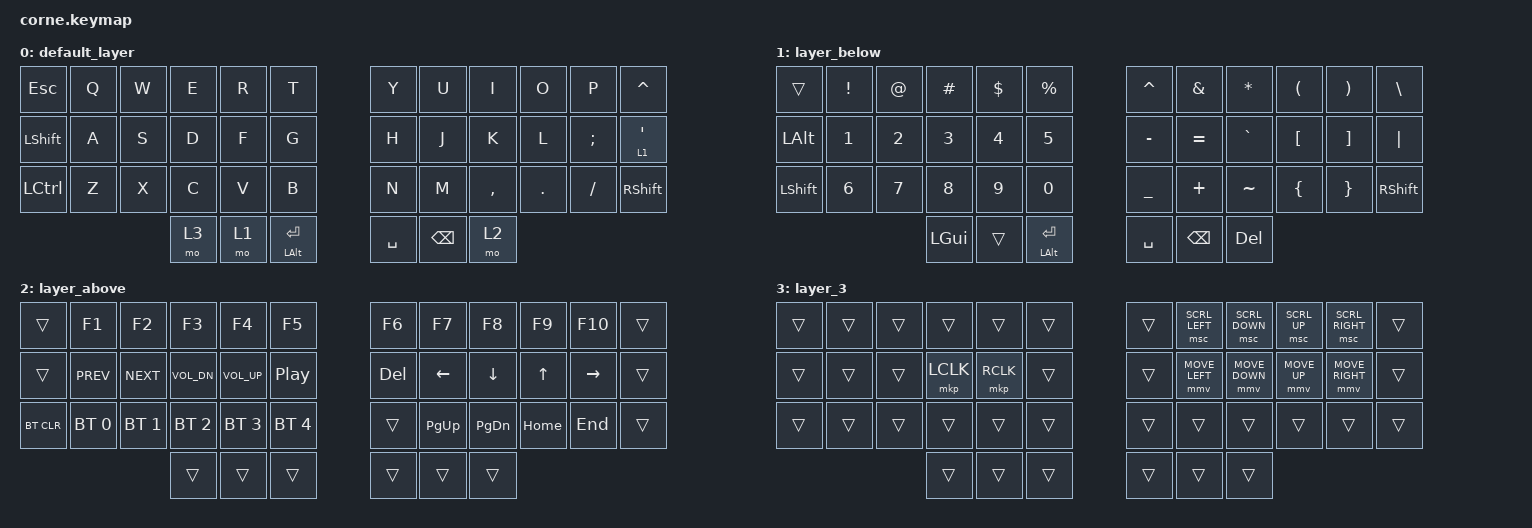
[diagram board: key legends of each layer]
/*
 * Copyright (c) 2020 The ZMK Contributors
 *
 * SPDX-License-Identifier: MIT
 */

#include <behaviors.dtsi>
#include <dt-bindings/zmk/bt.h>
#include <dt-bindings/zmk/keys.h>
#include <dt-bindings/zmk/pointing.h>

/ {
    behaviors {
        tp: tap_preferred {
            compatible = "zmk,behavior-hold-tap";
            label = "TAP_PREFERRED";
            #binding-cells = <2>;
            tapping-term-ms = <150>;
            quick-tap-ms = <0>;
            flavor = "tap-preferred";
            bindings = <&kp>, <&kp>;
        };
    };

    keymap {
        compatible = "zmk,keymap";

        default_layer {
            // -----------------------------------------------------------------------------------------
            // | TAB  |  Q  |  W  |  E  |  R  |    T    |   |  Y  |  U   |  I  |  O  |  P  | ESC |
            // | CTRL |  A  |  S  |  D  |  F  |    G    |   |  H  |  J   |  K  |  L  |  ;  |  LWR/'   |
            // | SHFT |  Z  |  X  |  C  |  V  |    B    |   |  N  |  M   |  ,  |  .  |  /  | SHFT |
            //                    | GUI | LWR | ALT/ENT |   | HYPER/SPC | BKSP  | RSE |

            bindings = <
&kp ESC           &kp Q  &kp W  &kp E  &kp R  &kp T           &kp Y      &kp U     &kp I      &kp O    &kp P     &kp CARET
&kp LEFT_SHIFT    &kp A  &kp S  &kp D  &kp F  &kp G           &kp H      &kp J     &kp K      &kp L    &kp SEMI  &lt 1 SQT
&kp LEFT_CONTROL  &kp Z  &kp X  &kp C  &kp V  &kp B           &kp N      &kp M     &kp COMMA  &kp DOT  &kp FSLH  &kp RSHFT
                                &mo 3  &mo 1  &tp LALT RET    &kp SPACE  &kp BSPC  &mo 2
            >;
        };

        layer_below {
            // -----------------------------------------------------------------------------------------
            // |      |  !  |  @  |  #  |  $  |    %     |   |  ^  |  &  |  *  |  (  |  )  |   \   |
            // |      |  1  |  2  |  3  |  4  |    5     |   |  -  |  =  |  `  |  [  |  ]  |  "|"  |
            // | SHFT |  6  |  7  |  8  |  9  |    0     |   |  _  |  +  |  ~  |  {  |  }  | RSHFT |
            //                     | GUI |     | ALT/ENT |   | HYPER/SPACE | BKSP |    |

            bindings = <
&trans        &kp EXCL  &kp AT  &kp HASH  &kp DLLR  &kp PRCNT       &kp CARET  &kp AMPS   &kp ASTERISK  &kp LPAR  &kp RPAR  &kp BSLH
&kp LEFT_ALT  &kp N1    &kp N2  &kp N3    &kp N4    &kp N5          &kp MINUS  &kp EQUAL  &kp GRAVE     &kp LBKT  &kp RBKT  &kp PIPE
&kp LSHFT     &kp N6    &kp N7  &kp N8    &kp N9    &kp N0          &kp UNDER  &kp PLUS   &kp TILDE     &kp LBRC  &kp RBRC  &kp RSHFT
                                &kp LGUI  &trans    &tp LALT RET    &kp SPACE  &kp BSPC   &kp DEL
            >;
        };

        layer_above {
            // -----------------------------------------------------------------------------------------
            // |       |  F1  |  F2  |  F3  |  F4  |  F5 |            |  F6  |  F7  |  F8  |  F9  |  F10  |   |
            // |       | Prev | Next | Vol - | Vol + | Play/Pause |   |      | LFT | DWN |  UP | RGT |     |     |
            // | BTCLR | BT1 | BT2 | BT3 | BT4 | BT5 |   |            |     |     |     |     |     |     |
            //                    |     |     |    |                  |     |     |     |

            bindings = <
&trans      &kp F1        &kp F2        &kp F3        &kp F4        &kp F5          &kp F6   &kp F7          &kp F8     &kp F9        &kp F10          &trans
&trans      &kp C_PREV    &kp C_NEXT    &kp C_VOL_DN  &kp C_VOL_UP  &kp C_PP        &kp DEL  &kp LEFT_ARROW  &kp DOWN   &kp UP_ARROW  &kp RIGHT_ARROW  &trans
&bt BT_CLR  &bt BT_SEL 0  &bt BT_SEL 1  &bt BT_SEL 2  &bt BT_SEL 3  &bt BT_SEL 4    &trans   &kp PG_UP       &kp PG_DN  &kp HOME      &kp END          &trans
                                        &trans        &trans        &trans          &trans   &trans          &trans
            >;
        };

        layer_3 {
            bindings = <
&trans  &trans  &trans  &trans     &trans     &trans    &trans  &msc SCRL_LEFT  &msc SCRL_DOWN  &msc SCRL_UP  &msc SCRL_RIGHT  &trans
&trans  &trans  &trans  &mkp LCLK  &mkp RCLK  &trans    &trans  &mmv MOVE_LEFT  &mmv MOVE_DOWN  &mmv MOVE_UP  &mmv MOVE_RIGHT  &trans
&trans  &trans  &trans  &trans     &trans     &trans    &trans  &trans          &trans          &trans        &trans           &trans
                        &trans     &trans     &trans    &trans  &trans          &trans
            >;
        };
    };
};
